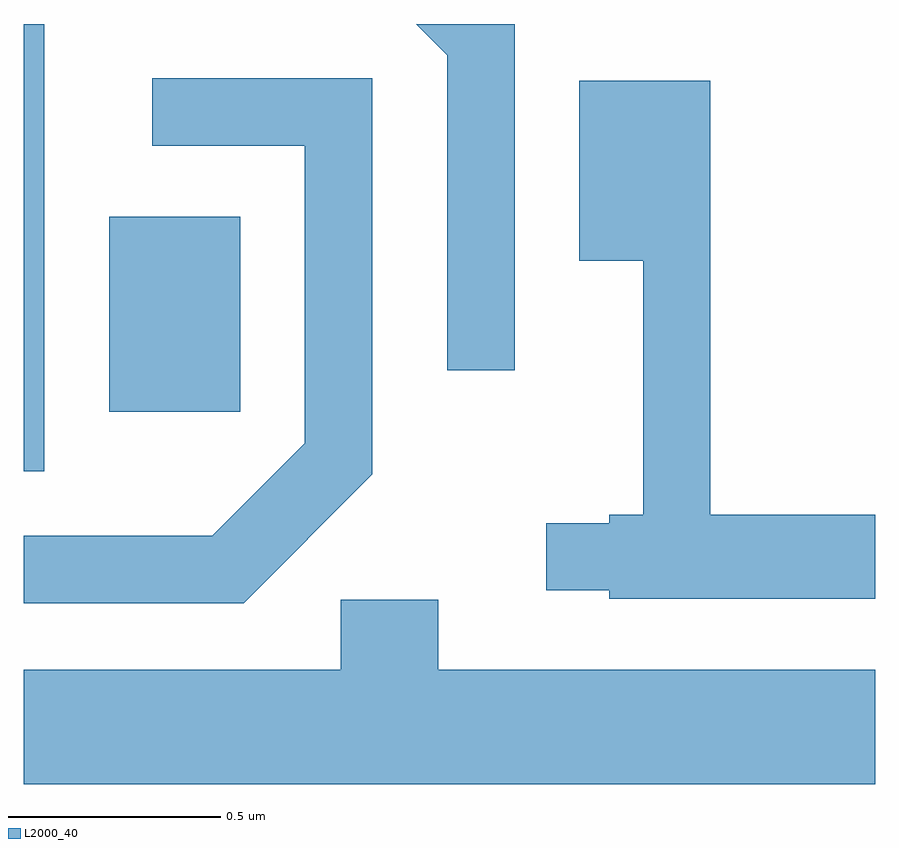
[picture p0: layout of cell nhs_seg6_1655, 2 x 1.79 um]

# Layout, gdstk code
import gdstk
lib = gdstk.Library(unit=1e-6, precision=1e-09)
def R(c, l, rs):  # rectangles x0, y0, x1, y1
    for r in rs: c.add(gdstk.rectangle(r[:2], r[2:], *l))
def P(c, l, *ps):  # polygons
    for p in ps: c.add(gdstk.Polygon(p, *l))
L2000_40 = (2000, 40)

nhs_seg6_1655 = lib.new_cell('nhs_seg6_1655')
R(nhs_seg6_1655, L2000_40, [(197.611,1544.111,197.659,1545.162), (197.811,1544.251,198.119,1544.709)])
P(nhs_seg6_1655, L2000_40, [(198.764,1545.162),(198.533,1545.162),(198.606,1545.089),(198.606,1544.348),(198.764,1544.348)],
  [(198.429,1544.104),(198.429,1545.034),(197.913,1545.034),(197.913,1544.876),(198.271,1544.876),(198.271,1544.177),(198.054,1543.959),(197.611,1543.959),(197.611,1543.801),(198.127,1543.801)],
  [(199.611,1544.009),(199.224,1544.009),(199.224,1545.029),(198.916,1545.029),(198.916,1544.606),(199.066,1544.606),(199.066,1544.009),(198.986,1544.009),(198.986,1543.989),(198.838,1543.989),(198.838,1543.831),(198.986,1543.831),(198.986,1543.811),(199.611,1543.811)],
  [(199.611,1543.644),(198.584,1543.644),(198.584,1543.809),(198.356,1543.809),(198.356,1543.644),(197.611,1543.644),(197.611,1543.376),(199.611,1543.376)])

lib.write_gds('nhs_seg6_1655.gds')
